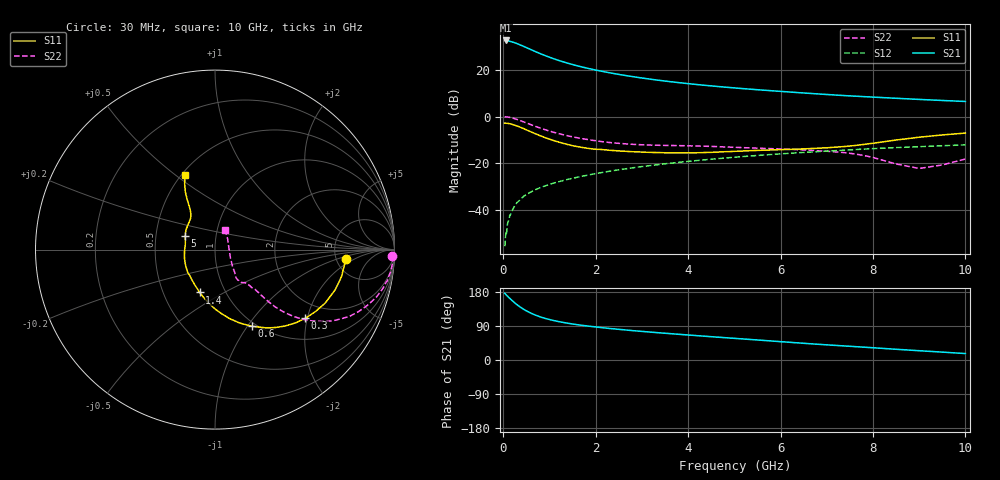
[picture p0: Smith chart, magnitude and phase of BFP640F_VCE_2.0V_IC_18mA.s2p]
! Infineon Technologies  Discrete & RF Semiconductors
! BFP640F
! VCE =  2.0 V,  IC =  18 mA
! Common Emitter S-Parameters:  Apr 2013
# GHz  S  MA  R  50
!  f  S11  S21  S12  S22
! GHz  MAG  ANG  MAG  ANG  MAG  ANG  MAG  ANG
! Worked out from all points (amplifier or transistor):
!   99 points, 30 MHz to 10 GHz, reference 50 ohm
!   highest |S21| = 32.6 dB at 50 MHz (marker M1)
!   |S21| within 3 dB of that: start of sweep to 494.6 MHz
!   unconditionally stable (mu >= 1): 2.354 GHz to end of sweep
!   at 350 MHz: K = 0.31, MSG = 33.4 dB, |S12| = -35.9 dB
!   at 3.5 GHz: K = 1.05, MAG = 16.4 dB, |S12| = -20.2 dB
!   at 10 GHz: K = 1.05, MAG = 7.9 dB, |S12| = -12.1 dB
!   S11 on the Smith chart (normalised r, x): 30 MHz: 6.13, -1.31; 300 MHz: 1.52, -1.94; 600 MHz: 0.95, -1.05; 1.4 GHz: 0.76, -0.39; 5 GHz: 0.71, +0.11; 10 GHz: 0.52, +0.54
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0.03  0.7303 -3.9  42.2 176.3  0.0017 103.0  0.9893 -2.0
0.05  0.7264 -6.7  42.67 173.9  0.0028 82.0  0.9935 -3.9
0.11  0.7141 -14.5  41.7 166.3  0.0058 77.2  0.9782 -9.2
0.15  0.7015 -19.7  40.79 161.7  0.0077 81.7  0.9621 -12.7
0.25  0.6577 -31.7  38.12 150.7  0.0125 78.1  0.9049 -20.0
0.3  0.632 -37.3  36.51 145.8  0.0146 75.7  0.872 -23.3
0.4  0.5775 -47.5  33.21 137.1  0.0182 73.8  0.8023 -28.7
0.45  0.5505 -52.0  31.59 133.3  0.0201 70.9  0.769 -31.0
0.6  0.4732 -64.5  27.16 123.5  0.0246 69.3  0.6741 -36.2
0.7  0.4301 -71.7  24.57 118.3  0.0275 68.3  0.6191 -38.7
0.8  0.3918 -78.2  22.32 113.8  0.0303 67.4  0.5718 -40.5
0.9  0.3582 -84.3  20.39 110.0  0.0329 66.7  0.5287 -41.9
1.1  0.3066 -95.1  17.23 103.9  0.0382 65.9  0.461 -43.6
1.4  0.2533 -109.7  13.89 96.9  0.0457 65.5  0.3891 -44.5
1.7  0.2201 -122.9  11.6 91.6  0.0532 65.0  0.3396 -44.6
2.4  0.1884 -149.2  8.344 82.1  0.0705 63.1  0.2745 -46.3
3.4  0.1706 -176.2  5.952 71.5  0.0954 59.4  0.2438 -49.0
5  0.1814 156.0  4.124 57.2  0.1355 52.0  0.2212 -52.6
5.1  0.183 154.7  4.048 56.3  0.138 51.5  0.2197 -52.8
6.7  0.2089 134.1  3.118 42.4  0.1763 42.8  0.1897 -52.6
8.5  0.3165 119.2  2.476 28.3  0.2182 32.6  0.0975 -28.2
10  0.4456 111.8  2.114 17.0  0.2495 24.0  0.1242 63.5
